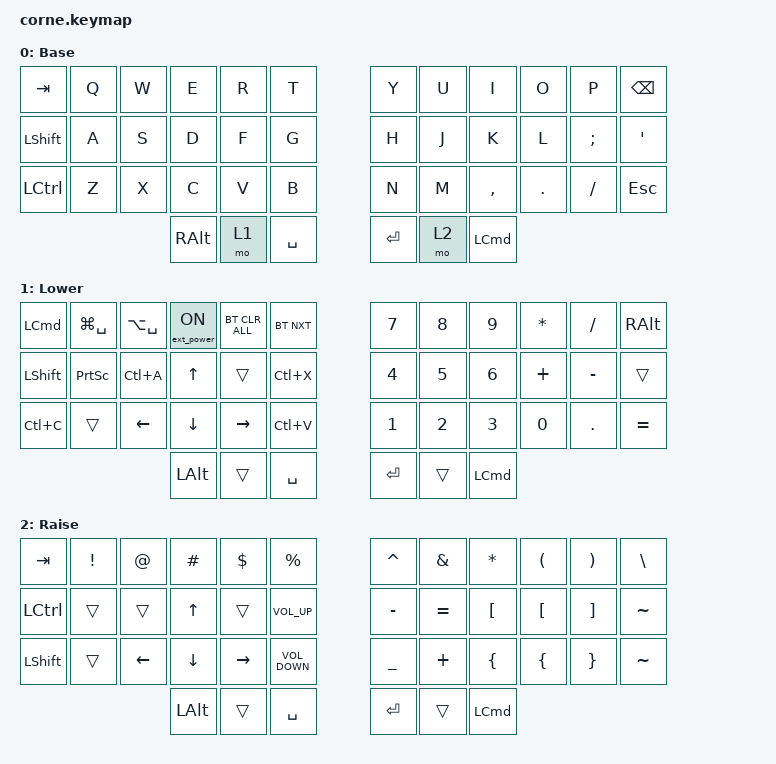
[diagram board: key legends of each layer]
/*
 * Copyright (c) 2020 The ZMK Contributors
 *
 * SPDX-License-Identifier: MIT
 */

#include <behaviors.dtsi>
#include <dt-bindings/zmk/bt.h>
#include <dt-bindings/zmk/ext_power.h>
#include <dt-bindings/zmk/keys.h>

/ {
    macros {
        selectall: selectall {
            compatible = "zmk,behavior-macro";
            #binding-cells = <0>;
            bindings = <&kp LEFT_COMMAND &kp A>;
            label = "SELECTALL";
        };

        spotlight: spotlight {
            compatible = "zmk,behavior-macro";
            #binding-cells = <0>;
            bindings = <&kp LEFT_COMMAND &kp SPACE>;
            label = "SPOTLIGHT";
        };

        AI: AI {
            compatible = "zmk,behavior-macro";
            #binding-cells = <0>;
            bindings = <&kp LEFT_ALT &kp SPACE>;
            label = "AI";
        };

        cut: cut {
            compatible = "zmk,behavior-macro";
            #binding-cells = <0>;
            bindings = <&kp LEFT_COMMAND &kp X>;
            label = "CUT";
        };

        paste: paste {
            compatible = "zmk,behavior-macro";
            #binding-cells = <0>;
            bindings = <&kp LEFT_COMMAND &kp V>;
            label = "PASTE";
        };

        copy: copy {
            compatible = "zmk,behavior-macro";
            #binding-cells = <0>;
            bindings = <&kp LEFT_COMMAND &kp C>;
            label = "COPY";
        };
    };

    keymap {
        compatible = "zmk,keymap";

        default_layer {
            // -----------------------------------------------------------------------------------------
            // |  TAB |  Q  |  W  |  E  |  R  |  T  |   |  Y  |  U   |  I  |  O  |  P  | BKSP |
            // | CTRL |  A  |  S  |  D  |  F  |  G  |   |  H  |  J   |  K  |  L  |  ;  |  '   |
            // | SHFT |  Z  |  X  |  C  |  V  |  B  |   |  N  |  M   |  ,  |  .  |  /  | ESC  |
            //                    | GUI | LWR | SPC |   | ENT | RSE  | ALT |

            display-name = "Base";
            bindings = <
&kp TAB           &kp Q  &kp W  &kp E          &kp R  &kp T        &kp Y    &kp U  &kp I             &kp O    &kp P     &kp BSPC
&kp LEFT_SHIFT    &kp A  &kp S  &kp D          &kp F  &kp G        &kp H    &kp J  &kp K             &kp L    &kp SEMI  &kp SQT
&kp LEFT_CONTROL  &kp Z  &kp X  &kp C          &kp V  &kp B        &kp N    &kp M  &kp COMMA         &kp DOT  &kp FSLH  &kp ESC
                                &kp RIGHT_ALT  &mo 1  &kp SPACE    &kp RET  &mo 2  &kp LEFT_COMMAND
            >;
        };

        lower_layer {
            // -----------------------------------------------------------------------------------------
            // |  TAB |  1  |  2  |  3  |  4  |  5  |   |  6  |  7  |  8  |  9  |  0  | BKSP |
            // | BTCLR|     | BT2 | BT3 | BT4 | BT5 |   | LFT | DWN |  UP | RGT |     |      |
            // | SHFT |  LFT   |     |     |     |     |   |     |     |     |     |     |      |
            //                    | GUI |     | SPC |   | ENT |     | ALT |

            display-name = "Lower";
            bindings = <
&kp LEFT_COMMAND  &kp LG(SPACE)    &kp LA(SPACE)  &ext_power EP_ON  &bt BT_CLR_ALL  &bt BT_NXT    &kp N7        &kp N8        &kp N9            &kp ASTERISK  &kp SLASH   &kp RIGHT_ALT
&kp LEFT_SHIFT    &kp PRINTSCREEN  &kp LC(A)      &kp UP_ARROW      &trans          &kp LC(X)     &kp NUMBER_4  &kp N5        &kp NUMBER_6      &kp PLUS      &kp MINUS   &trans
&kp LC(C)         &trans           &kp LEFT       &kp DOWN          &kp RIGHT       &kp LC(V)     &kp NUMBER_1  &kp NUMBER_2  &kp NUMBER_3      &kp N0        &kp PERIOD  &kp EQUAL
                                                  &kp LEFT_ALT      &trans          &kp SPACE     &kp RET       &trans        &kp LEFT_COMMAND
            >;
        };

        raise_layer {
            // -----------------------------------------------------------------------------------------
            // |  TAB |  !  |  @  |  #  |  $  |  %  |   |  ^  |  &  |  *  |  (  |  )  | BKSP |
            // | CTRL |     |     |     |     |     |   |  -  |  =  |  [  |  ]  |  \  |  `   |
            // | SHFT |     |     |     |     |     |   |  _  |  +  |  {  |  }  | "|" |  ~   |
            //                    | GUI |     | SPC |   | ENT |     | ALT |

            display-name = "Raise";
            bindings = <
&kp TAB    &kp EXCL  &kp AT    &kp HASH      &kp DLLR   &kp PRCNT            &kp CARET  &kp AMPS   &kp ASTERISK      &kp LPAR          &kp RPAR           &kp BACKSLASH
&kp LCTRL  &trans    &trans    &kp UP_ARROW  &trans     &kp K_VOLUME_UP      &kp MINUS  &kp EQUAL  &kp LBKT          &kp LEFT_BRACKET  &kp RIGHT_BRACKET  &kp TILDE
&kp LSHFT  &trans    &kp LEFT  &kp DOWN      &kp RIGHT  &kp K_VOLUME_DOWN    &kp UNDER  &kp PLUS   &kp LBRC          &kp LEFT_BRACE    &kp RIGHT_BRACE    &kp TILDE
                               &kp LEFT_ALT  &trans     &kp SPACE            &kp RET    &trans     &kp LEFT_COMMAND
            >;
        };

        extra_1 { status = "reserved"; };

        extra_2 { status = "reserved"; };
    };
};
